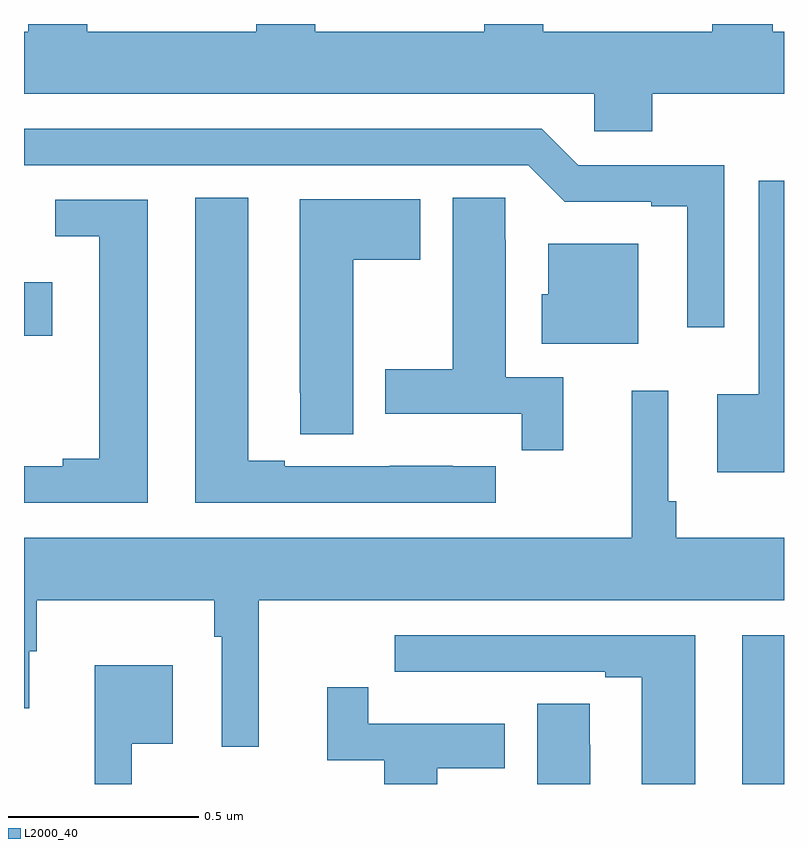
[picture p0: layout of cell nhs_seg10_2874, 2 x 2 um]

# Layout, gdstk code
import gdstk
lib = gdstk.Library(unit=1e-6, precision=1e-09)
def R(c, l, rs):  # rectangles x0, y0, x1, y1
    for r in rs: c.add(gdstk.rectangle(r[:2], r[2:], *l))
def P(c, l, *ps):  # polygons
    for p in ps: c.add(gdstk.Polygon(p, *l))
L2000_40 = (2000, 40)

nhs_seg10_2874 = lib.new_cell('nhs_seg10_2874')
R(nhs_seg10_2874, L2000_40, [(147.89,1298.5,148,1298.892), (146,1299.68,146.074,1299.82)])
P(nhs_seg10_2874, L2000_40, [(147.653,1300.316),(148,1300.316),(148,1300.48),(147.971,1300.48),(147.971,1300.5),(147.811,1300.5),(147.811,1300.48),(147.366,1300.48),(147.366,1300.5),(147.211,1300.5),(147.211,1300.48),(146.766,1300.48),(146.766,1300.5),(146.611,1300.5),(146.611,1300.48),(146.166,1300.48),(146.166,1300.5),(146.011,1300.5),(146.011,1300.48),(146,1300.48),(146,1300.316),(147.501,1300.316),(147.501,1300.218),(147.653,1300.218)],
  [(147.843,1300.128),(147.459,1300.128),(147.363,1300.224),(146,1300.224),(146,1300.128),(147.327,1300.128),(147.423,1300.032),(147.65,1300.032),(147.65,1300.02),(147.746,1300.02),(147.746,1299.702),(147.843,1299.702)],
  [(148,1300.087),(147.933,1300.087),(147.933,1299.526),(147.824,1299.526),(147.824,1299.32),(148,1299.32)],
  [(147.419,1299.57),(147.268,1299.57),(147.268,1299.932),(147.267,1299.932),(147.267,1300.043),(147.128,1300.043),(147.128,1299.591),(146.951,1299.591),(146.951,1299.474),(147.31,1299.474),(147.31,1299.378),(147.419,1299.378)],
  [(147.241,1299.336),(147.128,1299.336),(147.128,1299.337),(146.962,1299.337),(146.962,1299.336),(146.686,1299.336),(146.686,1299.351),(146.59,1299.351),(146.59,1300.043),(146.45,1300.043),(146.45,1299.24),(147.241,1299.24)],
  [(146.866,1299.88),(147.043,1299.88),(147.043,1300.039),(146.726,1300.039),(146.726,1299.529),(146.727,1299.529),(146.727,1299.421),(146.866,1299.421)],
  [(146.326,1300.038),(146.082,1300.038),(146.082,1299.942),(146.198,1299.942),(146.198,1299.356),(146.102,1299.356),(146.102,1299.336),(146,1299.336),(146,1299.24),(146.326,1299.24)],
  [(147.616,1299.922),(147.38,1299.922),(147.38,1299.789),(147.362,1299.789),(147.362,1299.659),(147.616,1299.659)],
  [(146.618,1298.984),(148,1298.984),(148,1299.148),(147.716,1299.148),(147.716,1299.244),(147.696,1299.244),(147.696,1299.535),(147.599,1299.535),(147.599,1299.148),(146,1299.148),(146,1298.7),(146.014,1298.7),(146.014,1298.85),(146.033,1298.85),(146.033,1298.984),(146.5,1298.984),(146.5,1298.888),(146.52,1298.888),(146.52,1298.598),(146.618,1298.598)],
  [(147.766,1298.892),(146.976,1298.892),(146.976,1298.796),(147.088,1298.796),(147.088,1298.795),(147.254,1298.795),(147.254,1298.796),(147.53,1298.796),(147.53,1298.781),(147.626,1298.781),(147.626,1298.5),(147.766,1298.5)],
  [(146.283,1298.606),(146.392,1298.606),(146.392,1298.812),(146.186,1298.812),(146.186,1298.5),(146.283,1298.5)],
  [(147.088,1298.542),(147.265,1298.542),(147.265,1298.658),(146.906,1298.658),(146.906,1298.755),(146.798,1298.755),(146.798,1298.562),(146.948,1298.562),(146.948,1298.5),(147.088,1298.5)],
  [(147.49,1298.603),(147.489,1298.603),(147.489,1298.711),(147.35,1298.711),(147.35,1298.5),(147.49,1298.5)])

lib.write_gds('nhs_seg10_2874.gds')
